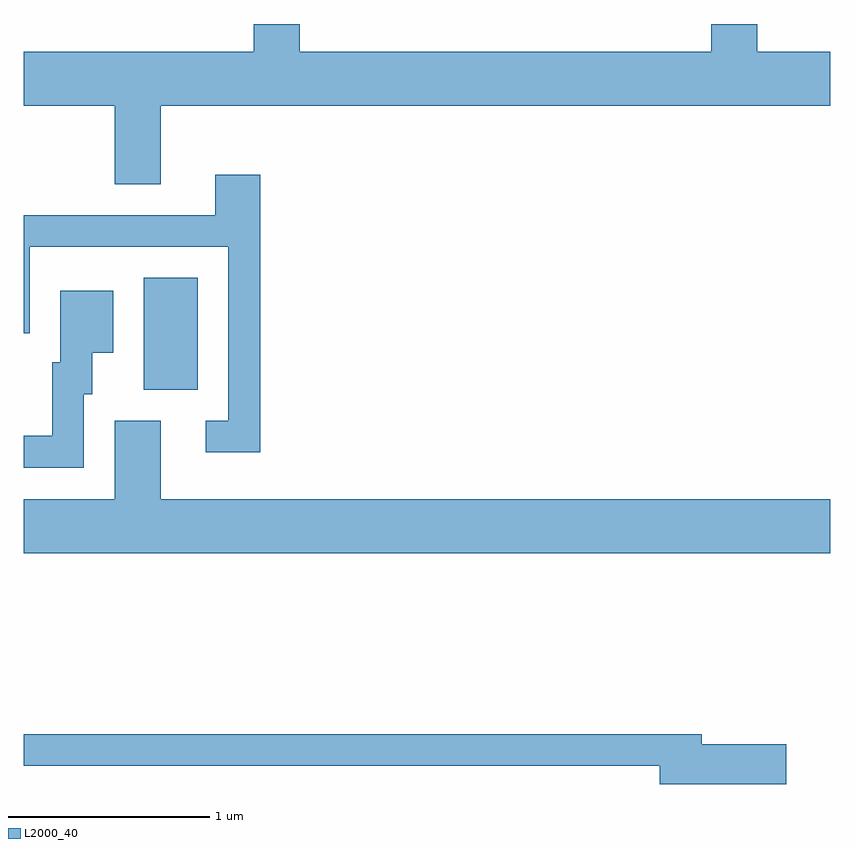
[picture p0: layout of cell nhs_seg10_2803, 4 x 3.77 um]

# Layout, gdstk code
import gdstk
lib = gdstk.Library(unit=1e-6, precision=1e-09)
def R(c, l, rs):  # rectangles x0, y0, x1, y1
    for r in rs: c.add(gdstk.rectangle(r[:2], r[2:], *l))
def P(c, l, *ps):  # polygons
    for p in ps: c.add(gdstk.Polygon(p, *l))
L2000_40 = (2000, 40)

nhs_seg10_2803 = lib.new_cell('nhs_seg10_2803')
R(nhs_seg10_2803, L2000_40, [(268.206,2134.706,268.474,2135.264)])
P(nhs_seg10_2803, L2000_40, [(268.289,2136.116),(271.611,2136.116),(271.611,2136.384),(271.249,2136.384),(271.249,2136.522),(271.021,2136.522),(271.021,2136.384),(268.979,2136.384),(268.979,2136.522),(268.751,2136.522),(268.751,2136.384),(267.611,2136.384),(267.611,2136.116),(268.061,2136.116),(268.061,2135.726),(268.289,2135.726)],
  [(268.784,2135.774),(268.561,2135.774),(268.561,2135.574),(267.611,2135.574),(267.611,2134.988),(267.639,2134.988),(267.639,2135.416),(268.626,2135.416),(268.626,2134.554),(268.513,2134.554),(268.513,2134.396),(268.784,2134.396)],
  [(267.909,2134.686),(267.949,2134.686),(267.949,2134.891),(268.054,2134.891),(268.054,2135.199),(267.791,2135.199),(267.791,2134.844),(267.751,2134.844),(267.751,2134.479),(267.611,2134.479),(267.611,2134.321),(267.909,2134.321)],
  [(271.611,2134.164),(268.289,2134.164),(268.289,2134.554),(268.061,2134.554),(268.061,2134.164),(267.611,2134.164),(267.611,2133.896),(271.611,2133.896)],
  [(271.394,2132.949),(270.974,2132.949),(270.974,2132.999),(267.611,2132.999),(267.611,2132.841),(270.766,2132.841),(270.766,2132.751),(271.394,2132.751)])

lib.write_gds('nhs_seg10_2803.gds')
